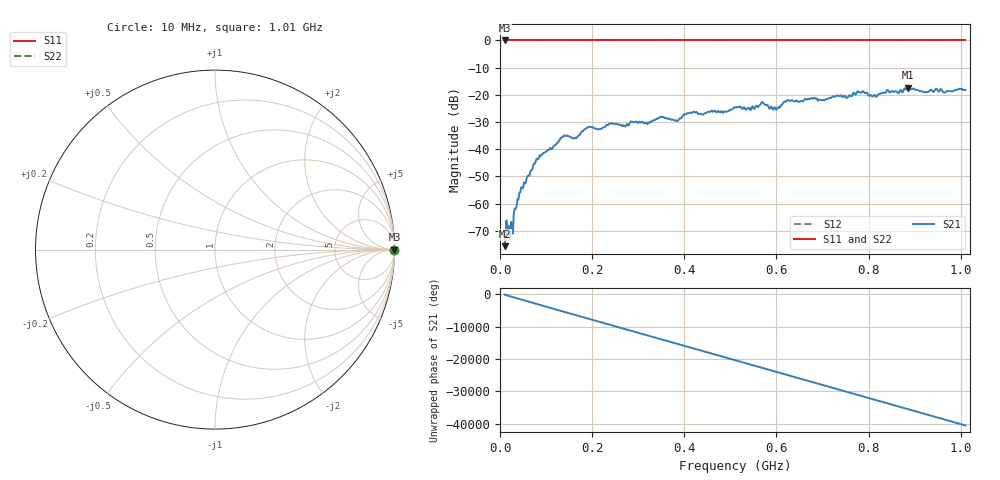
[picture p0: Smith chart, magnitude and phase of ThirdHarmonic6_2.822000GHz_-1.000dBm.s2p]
! 8/17/2025 7:28:36 AM
! C:\ANRITSUVNA\TEMP\TEMP.S2P
! CHANNEL.1
! TR.MEASUREMENT
! RAW.DATA
! RF.CORRECTION.OFF
! AVERAGING.OFF
! IF.BANDWIDTH: 5KHZ
! SWEEPTYPE:  FREQ.SWEEP(Linear)
! Reference Plane Port Info
! PORT:  PORT1  PORT2
! DISTANCE:  0  m  0  m
! TIME:  0  s  0  s
! PHASE.OFFSET:  0  deg.  0  deg.
! LOSS:  0  dB  0  dB
! REF.LOSS:  0  dB  0  dB
! REF.FREQ:  0  Hz  0  Hz
! Power Info
! POWER:  -20  dBm  -20  dBm
! EFF.POWER:  -20  dBm  -20  dBm
! SOURCE.ATTEN:  0  dB  0  dB
! TEST.ATTEN:  0  dB  0  dB
# GHZ S RI R 50.0
! FREQ.GHZ  S11RE  S11IM  S21RE  S21IM  S12RE  S12IM  S22RE  S22IM
!; PortSelection: Port_12
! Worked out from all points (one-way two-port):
!   501 points, 10 MHz to 1.01 GHz, reference 50 ohm
!   highest |S21| = -17.37 dB at 886 MHz (marker M1); lowest = -75.6 dB at 10 MHz (marker M2)
!   lowest |S11| = 0.0 dB at 10 MHz (marker M3)
!   |S11| at or under -10 dB: nowhere
!   |S22| runs from 0.0 to 0.0 dB; largest |S21 - S12| = 1.1
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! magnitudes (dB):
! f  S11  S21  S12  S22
! 10 MHz  0.0  -75.6  0.0  0.0
! 16 MHz  0.0  -69.5  0.0  0.0
! 24 MHz  0.0  -66.7  0.0  0.0
! 34 MHz  0.0  -61.9  0.0  0.0
! 46 MHz  0.0  -54.0  0.0  0.0
! 82 MHz  0.0  -43.8  0.0  0.0
! 136 MHz  0.0  -35.5  0.0  0.0
! 162 MHz  0.0  -36.0  0.0  0.0
! 178 MHz  0.0  -33.4  0.0  0.0
! 194 MHz  0.0  -31.7  0.0  0.0
! 344 MHz  0.0  -28.6  0.0  0.0
! 382 MHz  0.0  -29.3  0.0  0.0
! 410 MHz  0.0  -26.8  0.0  0.0
! 510 MHz  0.0  -24.5  0.0  0.0
! 540 MHz  0.0  -24.8  0.0  0.0
! 570 MHz  0.0  -22.7  0.0  0.0
! 596 MHz  0.0  -24.6  0.0  0.0
! 622 MHz  0.0  -22.3  0.0  0.0
! 678 MHz  0.0  -21.4  0.0  0.0
! 844 MHz  0.0  -18.9  0.0  0.0
! 886 MHz  0.0  -17.4  0.0  0.0
! 1.01 GHz  0.0  -18.2  0.0  0.0
